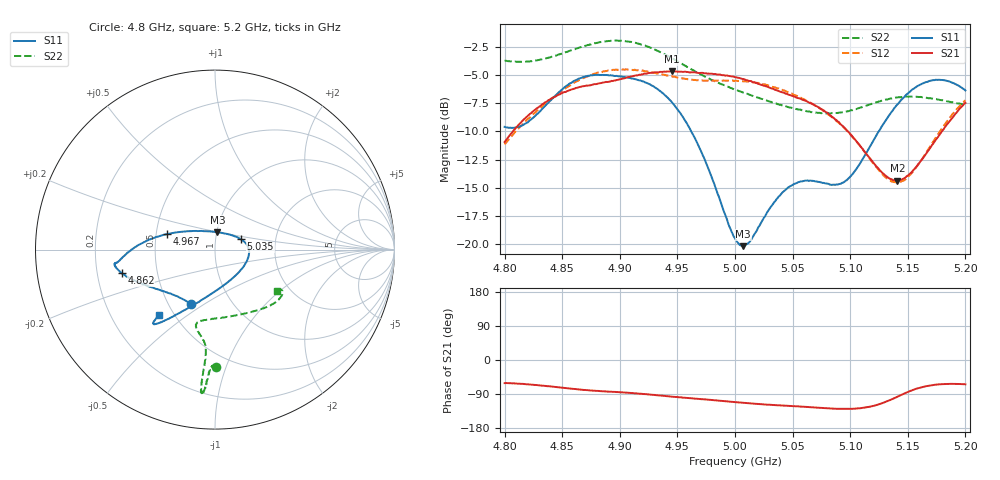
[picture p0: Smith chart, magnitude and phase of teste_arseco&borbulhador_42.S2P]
! Network Analyzer HP8722D
! Hewlett-Packard
! Data name: Linha & Wilkinson
! Saver's name: Rodrigo Anjos
! Comments: Teste da utilização de aquisição
! continua pelo VNA HP8722D
! Time and date: 15/4/2025 15:59
!  Frequency  S11  S21  S12  S22
# HZ  S  MA R 50
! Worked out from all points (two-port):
!   401 points, 4.8 GHz to 5.2 GHz, reference 50 ohm
!   highest |S21| = -4.64 dB at 4.945 GHz (marker M1); lowest = -14.4 dB at 5.141 GHz (marker M2)
!   |S21| within 3 dB of the highest: 4.832 GHz to 5.069 GHz (236.7 MHz wide, 4.78 % of centre); 5.198161 GHz to end of sweep
!   lowest |S11| = -20.2 dB at 5.007 GHz (marker M3), VSWR 1.22, Z = 50.4 + j9.82 ohm
!   |S11| at or under -10 dB: 4.962 GHz to 5.125 GHz (162.7 MHz wide, 3.23 % of centre)
!   |S22| runs from -8.4 to -1.9 dB; largest |S21 - S12| = 0.88
!   S11 on the Smith chart (normalised r, x): 4.8 GHz: 0.65, -0.44; 4.862 GHz: 0.31, -0.11; 4.967 GHz: 0.57, +0.11; 5.035 GHz: 1.32, +0.16; 5.2 GHz: 0.41, -0.39
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4.8e9  0.3316 -113.9  0.2838 -61.0  0.2771 -175.2  0.6539 -89.6
4.819e9  0.3453 -133.8  0.3668 -64.0  0.3547 -173.5  0.6482 -91.3
4.862e9  0.5362 -165.9  0.4947 -76.8  0.5271 -176.6  0.7394 -93.6
4.867e9  0.5494 -167.8  0.5024 -78.5  0.5433 -177.8  0.7532 -93.8
4.899e9  0.5568 -172.4  0.5385 -85.0  0.596 175.6  0.8018 -95.2
4.934e9  0.4831 -178.2  0.5809 -93.6  0.5732 171.9  0.7189 -95.7
4.945e9  0.4283 176.7  0.5861 -96.6  0.5581 172.0  0.6719 -95.4
4.967e9  0.2824 162.3  0.5784 -102.2  0.5348 173.9  0.5793 -95.0
5e9  0.1056 106.2  0.5524 -111.2  0.5326 176.3  0.4862 -99.3
5.007e9  0.09744 82.2  0.542 -112.7  0.5296 176.3  0.4718 -100.9
5.014e9  0.104 60.0  0.5306 -114.8  0.526 176.0  0.4585 -102.5
5.035e9  0.1549 22.0  0.4845 -119.1  0.4967 174.9  0.4215 -103.9
5.05e9  0.1828 6.3  0.4556 -121.7  0.464 174.3  0.4022 -100.3
5.067e9  0.1906 -12.0  0.42 -124.9  0.4203 173.9  0.386 -91.8
5.085e9  0.1832 -40.4  0.3655 -128.5  0.3637 173.6  0.3814 -78.4
5.097e9  0.1916 -65.6  0.3199 -129.1  0.3199 174.4  0.3884 -68.4
5.134e9  0.3747 -116.4  0.1953 -106.5  0.1916 -159.3  0.4423 -43.4
5.141e9  0.4175 -120.4  0.1909 -96.6  0.1877 -148.5  0.4483 -40.3
5.153e9  0.4821 -125.2  0.2075 -80.8  0.205 -129.8  0.4519 -36.0
5.17e9  0.5328 -128.8  0.2697 -66.9  0.2742 -113.0  0.4444 -32.2
5.184e9  0.5315 -130.1  0.3403 -63.3  0.3508 -107.3  0.4312 -31.2
5.2e9  0.4818 -130.6  0.4241 -64.2  0.4358 -106.2  0.4159 -33.4
